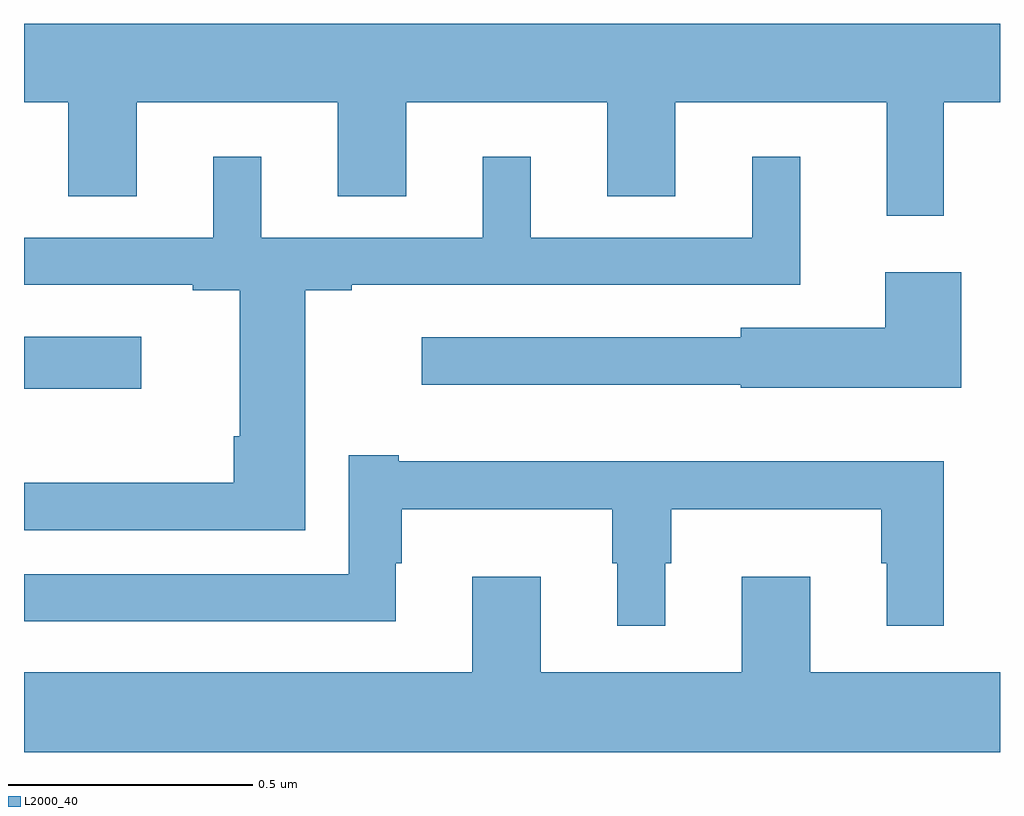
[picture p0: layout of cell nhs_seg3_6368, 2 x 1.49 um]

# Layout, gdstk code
import gdstk
lib = gdstk.Library(unit=1e-6, precision=1e-09)
def R(c, l, rs):  # rectangles x0, y0, x1, y1
    for r in rs: c.add(gdstk.rectangle(r[:2], r[2:], *l))
def P(c, l, *ps):  # polygons
    for p in ps: c.add(gdstk.Polygon(p, *l))
L2000_40 = (2000, 40)

nhs_seg3_6368 = lib.new_cell('nhs_seg3_6368')
R(nhs_seg3_6368, L2000_40, [(190,709.652,190.24,709.759)])
P(nhs_seg3_6368, L2000_40, [(191.885,710.24),(192,710.24),(192,710.4),(190,710.4),(190,710.24),(190.091,710.24),(190.091,710.047),(190.231,710.047),(190.231,710.24),(190.643,710.24),(190.643,710.047),(190.783,710.047),(190.783,710.24),(191.195,710.24),(191.195,710.047),(191.335,710.047),(191.335,710.24),(191.768,710.24),(191.768,710.007),(191.885,710.007)],
  [(190.576,709.854),(190.672,709.854),(190.672,709.866),(191.591,709.866),(191.591,710.128),(191.492,710.128),(191.492,709.962),(191.038,709.962),(191.038,710.128),(190.94,710.128),(190.94,709.962),(190.486,709.962),(190.486,710.128),(190.388,710.128),(190.388,709.962),(190,709.962),(190,709.866),(190.346,709.866),(190.346,709.854),(190.442,709.854),(190.442,709.555),(190.43,709.555),(190.43,709.46),(190,709.46),(190,709.362),(190.576,709.362)],
  [(191.921,709.891),(191.765,709.891),(191.765,709.777),(191.469,709.777),(191.469,709.758),(190.815,709.758),(190.815,709.661),(191.469,709.661),(191.469,709.655),(191.921,709.655)],
  [(191.314,709.295),(191.326,709.295),(191.326,709.406),(191.757,709.406),(191.757,709.295),(191.768,709.295),(191.768,709.167),(191.885,709.167),(191.885,709.504),(190.768,709.504),(190.768,709.516),(190.665,709.516),(190.665,709.272),(190,709.272),(190,709.176),(190.762,709.176),(190.762,709.295),(190.774,709.295),(190.774,709.406),(191.205,709.406),(191.205,709.295),(191.216,709.295),(191.216,709.167),(191.314,709.167)],
  [(192,709.072),(191.611,709.072),(191.611,709.267),(191.471,709.267),(191.471,709.072),(191.059,709.072),(191.059,709.267),(190.919,709.267),(190.919,709.072),(190,709.072),(190,708.908),(192,708.908)])

lib.write_gds('nhs_seg3_6368.gds')
